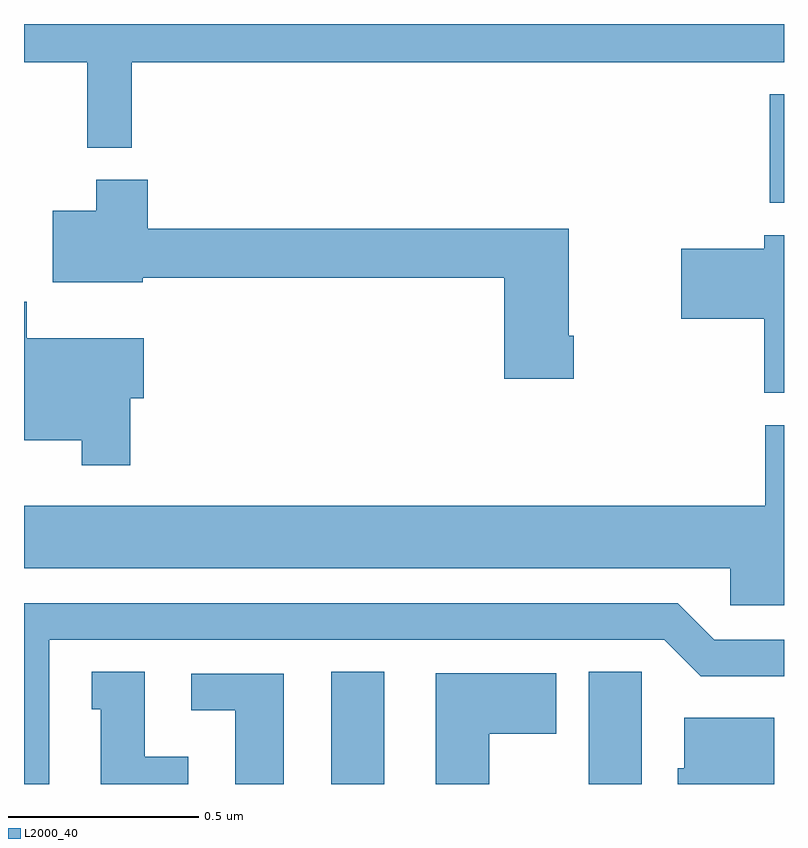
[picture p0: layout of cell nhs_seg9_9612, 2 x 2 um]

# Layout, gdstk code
import gdstk
lib = gdstk.Library(unit=1e-6, precision=1e-09)
def R(c, l, rs):  # rectangles x0, y0, x1, y1
    for r in rs: c.add(gdstk.rectangle(r[:2], r[2:], *l))
def P(c, l, *ps):  # polygons
    for p in ps: c.add(gdstk.Polygon(p, *l))
L2000_40 = (2000, 40)

nhs_seg9_9612 = lib.new_cell('nhs_seg9_9612')
R(nhs_seg9_9612, L2000_40, [(232.808,1214.5,232.948,1214.795), (233.963,1216.029,234,1216.315)])
P(nhs_seg9_9612, L2000_40, [(232.283,1216.4),(234,1216.4),(234,1216.5),(232,1216.5),(232,1216.4),(232.166,1216.4),(232.166,1216.175),(232.283,1216.175)],
  [(233.447,1215.679),(233.434,1215.679),(233.434,1215.961),(232.325,1215.961),(232.325,1216.09),(232.19,1216.09),(232.19,1216.009),(232.076,1216.009),(232.076,1215.821),(232.312,1215.821),(232.312,1215.832),(233.264,1215.832),(233.264,1215.567),(233.447,1215.567)],
  [(234,1215.944),(233.948,1215.944),(233.948,1215.908),(233.73,1215.908),(233.73,1215.725),(233.948,1215.725),(233.948,1215.529),(234,1215.529)],
  [(232.28,1215.515),(232.315,1215.515),(232.315,1215.673),(232.007,1215.673),(232.007,1215.769),(232,1215.769),(232,1215.404),(232.152,1215.404),(232.152,1215.339),(232.28,1215.339)],
  [(234,1215.444),(233.951,1215.444),(233.951,1215.232),(232,1215.232),(232,1215.068),(233.859,1215.068),(233.859,1214.97),(234,1214.97)],
  [(232.066,1214.88),(233.685,1214.88),(233.781,1214.784),(234,1214.784),(234,1214.88),(233.817,1214.88),(233.721,1214.976),(232,1214.976),(232,1214.5),(232.066,1214.5)],
  [(232.432,1214.572),(232.318,1214.572),(232.318,1214.795),(232.178,1214.795),(232.178,1214.697),(232.202,1214.697),(232.202,1214.5),(232.432,1214.5)],
  [(233.626,1214.684),(233.625,1214.684),(233.625,1214.795),(233.486,1214.795),(233.486,1214.5),(233.626,1214.5)],
  [(233.224,1214.632),(233.401,1214.632),(233.401,1214.791),(233.084,1214.791),(233.084,1214.5),(233.224,1214.5)],
  [(232.684,1214.79),(232.44,1214.79),(232.44,1214.694),(232.556,1214.694),(232.556,1214.5),(232.684,1214.5)],
  [(233.974,1214.674),(233.738,1214.674),(233.738,1214.541),(233.72,1214.541),(233.72,1214.5),(233.974,1214.5)])

lib.write_gds('nhs_seg9_9612.gds')
